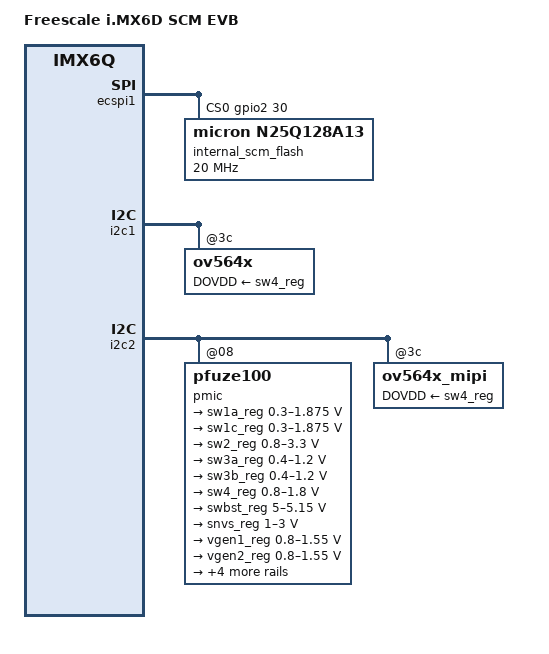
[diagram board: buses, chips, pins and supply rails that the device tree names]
/*
 * Copyright (C) 2016 Freescale Semiconductor, Inc.
 *
 * This program is free software; you can redistribute it and/or modify
 * it under the terms of the GNU General Public License version 2 as
 * published by the Free Software Foundation.
 */

#include "imx6q-sabresd-ldo.dts"

/ {
	model = "Freescale i.MX6D SCM EVB";
	compatible = "fsl,imx6q-sabresd", "fsl,imx6q";
	memory: memory {
		linux,usable-memory = <0x10000000 0x20000000
				       0x80000000 0x20000000>;
	};
	soc {
		busfreq {
			fsl,max_ddr_freq = <400000000>;
			status = "okay";
		};
	};
};

&ecspi1 {
	cs-gpios = <&gpio2 30 0>;
	internal_scm_flash: m25p80@0 {
		#address-cells = <1>;
		#size-cells = <1>;
		compatible = "micron,n25q128a13";
		spi-max-frequency = <20000000>;
		reg = <0>;
	};
};

&i2c1 {
	ov564x: ov564x@3c {
		DOVDD-supply = <&sw4_reg>; /* 1.8v */
	};
};

&clks {
	fsl,ldb-di0-parent = <&clks IMX6QDL_CLK_MMDC_CH1_AXI>;
	fsl,ldb-di1-parent = <&clks IMX6QDL_CLK_MMDC_CH1_AXI>;
};

&i2c2 {
	pmic: pfuze100@08 {
		regulators {
			sw1a_reg: sw1ab {
				regulator-min-microvolt = <300000>;
				regulator-max-microvolt = <1875000>;
				regulator-boot-on;
				regulator-always-on;
				regulator-ramp-delay = <6250>;
			};

			sw1c_reg: sw1c {
				regulator-min-microvolt = <300000>;
				regulator-max-microvolt = <1875000>;
				regulator-boot-on;
				regulator-always-on;
				regulator-ramp-delay = <6250>;
			};

			sw2_reg: sw2 {
				regulator-min-microvolt = <800000>;
				regulator-max-microvolt = <3300000>;
				regulator-boot-on;
				regulator-always-on;
			};

			sw3a_reg: sw3a {
				regulator-min-microvolt = <400000>;
				regulator-max-microvolt = <1200000>;
				regulator-boot-on;
				regulator-always-on;
			};

			sw3b_reg: sw3b {
				regulator-min-microvolt = <400000>;
				regulator-max-microvolt = <1200000>;
				regulator-boot-on;
				regulator-always-on;
			};

			sw4_reg: sw4 {
				regulator-min-microvolt = <800000>;
				regulator-max-microvolt = <1800000>;
				regulator-boot-on;
				regulator-always-on;

			};

			swbst_reg: swbst {
				regulator-min-microvolt = <5000000>;
				regulator-max-microvolt = <5150000>;
				regulator-boot-on;
				regulator-always-on;

			};

			snvs_reg: vsnvs {
				regulator-min-microvolt = <1000000>;
				regulator-max-microvolt = <3000000>;
				regulator-boot-on;
				regulator-always-on;
			};

			vref_reg: vrefddr {
				regulator-boot-on;
				regulator-always-on;
			};

			vgen1_reg: vgen1 {
				regulator-min-microvolt = <800000>;
				regulator-max-microvolt = <1550000>;
				regulator-always-on;
			};

			vgen2_reg: vgen2 {
				regulator-min-microvolt = <800000>;
				regulator-max-microvolt = <1550000>;
				regulator-always-on;
			};

			vgen3_reg: vgen3 {
				regulator-min-microvolt = <1800000>;
				regulator-max-microvolt = <2800000>;
				regulator-always-on;
			};

			vgen4_reg: vgen4 {
				regulator-min-microvolt = <1800000>;
				regulator-max-microvolt = <2500000>;
				regulator-always-on;
			};

			vgen5_reg: vgen5 {
				regulator-min-microvolt = <1800000>;
				regulator-max-microvolt = <3300000>;
				regulator-always-on;
			};

			vgen6_reg: vgen6 {
				regulator-min-microvolt = <1800000>;
				regulator-max-microvolt = <3150000>;
				regulator-always-on;
			};
		};
	};

	ov564x_mipi: ov564x_mipi@3c {
		DOVDD-supply = <&sw4_reg>; /* 1.8v */
	};

};
&iomuxc {
	pinctrl-names = "default";
	pinctrl-0 = <&pinctrl_hog>;

	imx6qdl-sabresd {
		pinctrl_hog: hoggrp {
			fsl,pins = <
				MX6QDL_PAD_NANDF_D0__GPIO2_IO00 0x80000000
				MX6QDL_PAD_NANDF_D1__GPIO2_IO01 0x80000000
				MX6QDL_PAD_NANDF_D2__GPIO2_IO02 0x80000000
				MX6QDL_PAD_NANDF_D3__GPIO2_IO03 0x80000000
				MX6QDL_PAD_GPIO_0__CCM_CLKO1    0x130b0
				MX6QDL_PAD_NANDF_CLE__GPIO6_IO07 0x80000000
				MX6QDL_PAD_NANDF_ALE__GPIO6_IO08 0x80000000
				MX6QDL_PAD_ENET_TXD1__GPIO1_IO29 0x80000000
				MX6QDL_PAD_EIM_D22__GPIO3_IO22  0x80000000
				MX6QDL_PAD_ENET_CRS_DV__GPIO1_IO25 0x80000000
				MX6QDL_PAD_EIM_D26__GPIO3_IO26 0x80000000
				MX6QDL_PAD_EIM_CS1__GPIO2_IO24 0x80000000
				MX6QDL_PAD_ENET_RXD0__GPIO1_IO27 0x80000000
				MX6QDL_PAD_EIM_A25__GPIO5_IO02 0x80000000
				MX6QDL_PAD_EIM_D23__GPIO3_IO23 0x80000000
				MX6QDL_PAD_EIM_EB3__GPIO2_IO31 0x80000000
				MX6QDL_PAD_SD1_CMD__GPIO1_IO18 0x80000000
				MX6QDL_PAD_SD3_RST__GPIO7_IO08 0x80000000
				MX6QDL_PAD_GPIO_9__GPIO1_IO09  0x80000000
				MX6QDL_PAD_EIM_DA9__GPIO3_IO09 0x80000000
				MX6QDL_PAD_GPIO_1__WDOG2_B 0x80000000
				MX6QDL_PAD_NANDF_CS0__GPIO6_IO11 0x80000000
				MX6QDL_PAD_NANDF_CS1__GPIO6_IO14 0x80000000
			>;
		};
		pinctrl_ecspi1: ecspi1grp {
			fsl,pins = <
				MX6QDL_PAD_EIM_D17__ECSPI1_MISO 0x100b1
				MX6QDL_PAD_EIM_D18__ECSPI1_MOSI 0x100b1
				MX6QDL_PAD_EIM_D16__ECSPI1_SCLK 0x100b1
			>;
		};
		pinctrl_usdhc3: usdhc3grp {
			fsl,pins = <
				MX6QDL_PAD_SD3_CMD__SD3_CMD	0x170f9
				MX6QDL_PAD_SD3_CLK__SD3_CLK	0x100f9
				MX6QDL_PAD_SD3_DAT0__SD3_DATA0	0x170f9
				MX6QDL_PAD_SD3_DAT1__SD3_DATA1	0x170f9
				MX6QDL_PAD_SD3_DAT2__SD3_DATA2	0x170f9
				MX6QDL_PAD_SD3_DAT3__SD3_DATA3	0x170f9
				MX6QDL_PAD_SD3_DAT4__SD3_DATA4	0x170f9
				MX6QDL_PAD_SD3_DAT5__SD3_DATA5	0x170f9
				MX6QDL_PAD_SD3_DAT6__SD3_DATA6	0x170f9
				MX6QDL_PAD_SD3_DAT7__SD3_DATA7	0x170f9
			>;
		};
	};
};
